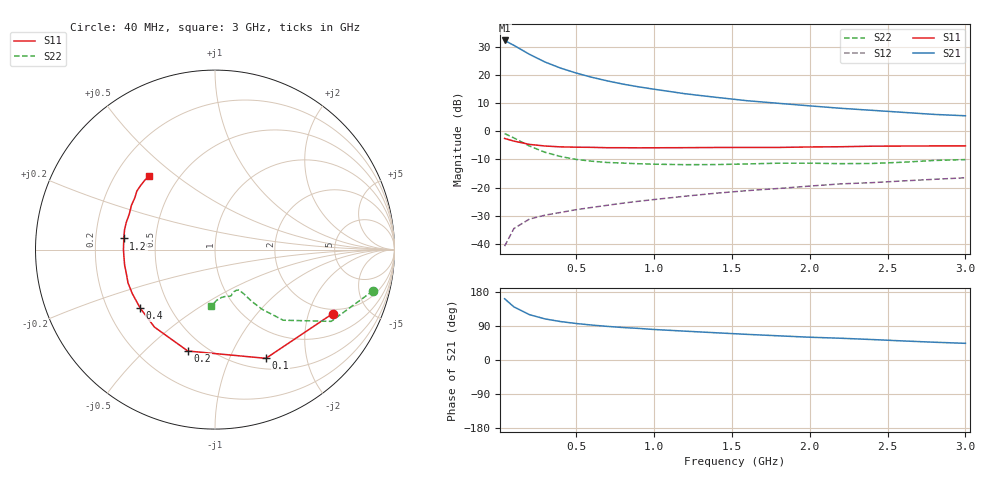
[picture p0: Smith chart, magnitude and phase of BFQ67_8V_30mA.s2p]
! Filename:  BFG67L.S2P  Version:  2.0
! Philips part #: BFG 67  Date: Jul 1990
! Bias condition: Vce=8V, Ic=30mA
! IN LINE PINNING: same data as with cross emitter pinning.
#  MHz  S  MA  R  50
! Freq  S11  S21  S12  S22  !GUM [dB]
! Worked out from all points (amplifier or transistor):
!   21 points, 40 MHz to 3 GHz, reference 50 ohm
!   highest |S21| = 32.2 dB at 40 MHz (marker M1)
!   |S21| within 3 dB of that: start of sweep to 139.6 MHz
!   unconditionally stable (mu >= 1): 843.1 MHz to end of sweep
!   at 300 MHz: K = 0.58, MSG = 27.1 dB, |S12| = -29.7 dB
!   at 1 GHz: K = 1.05, MAG = 18.2 dB, |S12| = -24.2 dB
!   at 3 GHz: K = 1.19, MAG = 8.3 dB, |S12| = -16.5 dB
!   lowest NFmin = 2.00 dB at 500 MHz
!   S11 on the Smith chart (normalised r, x): 40 MHz: 1.80, -2.90; 100 MHz: 0.63, -1.38; 200 MHz: 0.40, -0.69; 400 MHz: 0.34, -0.31; 1.2 GHz: 0.32, +0.05; 3 GHz: 0.34, +0.40
40  0.746 -28.6  40.53 161.6  0.00923 76.2  0.91 -14.6
100  0.669 -64.9  33.16 140.1  0.019 61.4  0.761 -31.7
200  0.585 -105.0  23.01 119.6  0.0279 51.1  0.547 -46.0
300  0.548 -128.0  16.81 108.4  0.0327 49.4  0.424 -51.7
400  0.529 -142.0  13.12 101.4  0.0365 50.0  0.357 -54.5
500  0.522 -152.0  10.73 96.3  0.0409 51.7  0.317 -56.0
600  0.519 -159.0  9.031 92.2  0.0448 53.3  0.295 -56.9
700  0.511 -166.0  7.793 88.7  0.0489 55.6  0.28 -57.9
800  0.511 -170.0  6.842 85.7  0.0533 57.2  0.273 -58.6
900  0.509 -175.0  6.121 83.4  0.0576 58.2  0.266 -58.8
1000  0.51 -180.0  5.551 80.5  0.0618 58.8  0.261 -59.7
1200  0.512 173.0  4.612 76.1  0.0708 61.0  0.256 -62.2
1400  0.516 167.5  3.982 71.8  0.0801 61.9  0.257 -66.0
1600  0.517 163.2  3.469 67.6  0.0889 62.3  0.264 -68.8
1800  0.517 157.5  3.123 63.8  0.097 62.9  0.272 -70.4
2000  0.527 152.0  2.817 60.1  0.107 63.6  0.272 -72.8
2200  0.532 147.0  2.55 57.4  0.117 63.0  0.267 -76.7
2400  0.544 143.2  2.348 54.0  0.123 63.4  0.269 -82.2
2600  0.547 139.3  2.16 50.3  0.132 63.6  0.283 -88.2
2800  0.55 135.3  1.987 46.9  0.141 63.4  0.304 -91.8
3000  0.55 131.7  1.88 44.0  0.15 61.5  0.315 -93.9
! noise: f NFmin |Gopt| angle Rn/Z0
500  2  0.212  46.4  0.336
1000  2.5  0.211  93.5  0.379
2000  3.5  0.379  166  0.213
